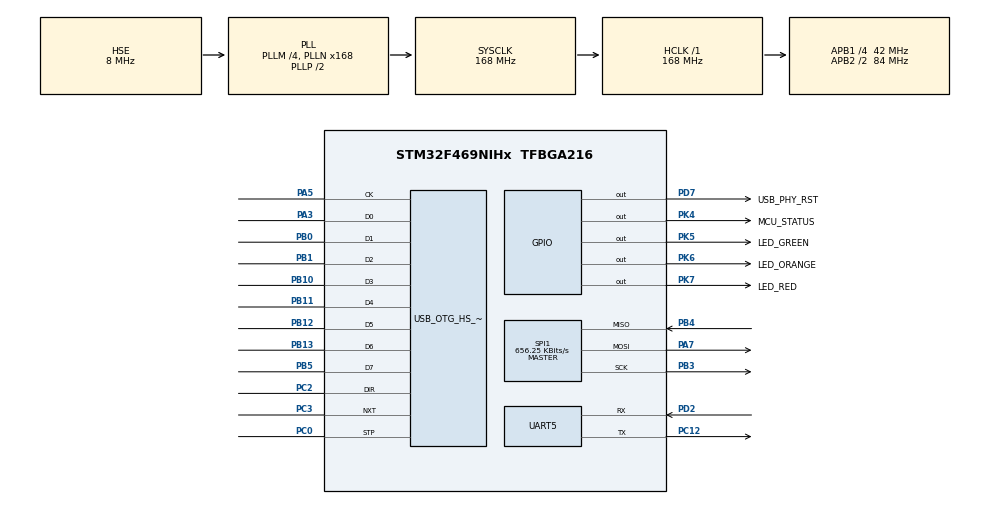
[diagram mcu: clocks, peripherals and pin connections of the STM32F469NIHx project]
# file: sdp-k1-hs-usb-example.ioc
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Dma.Request0=UART5_RX
Dma.Request1=UART5_TX
Dma.UART5_RX.0.Direction=DMA_PERIPH_TO_MEMORY
Dma.UART5_RX.0.FIFOMode=DMA_FIFOMODE_DISABLE
Dma.UART5_RX.0.Instance=DMA1_Stream0
Dma.UART5_RX.0.MemDataAlignment=DMA_MDATAALIGN_BYTE
Dma.UART5_RX.0.MemInc=DMA_MINC_ENABLE
Dma.UART5_RX.0.Mode=DMA_NORMAL
Dma.UART5_RX.0.PeriphDataAlignment=DMA_PDATAALIGN_BYTE
Dma.UART5_RX.0.PeriphInc=DMA_PINC_DISABLE
Dma.UART5_RX.0.Priority=DMA_PRIORITY_LOW
Dma.UART5_TX.1.Direction=DMA_MEMORY_TO_PERIPH
Dma.UART5_TX.1.FIFOMode=DMA_FIFOMODE_DISABLE
Dma.UART5_TX.1.Instance=DMA1_Stream7
Dma.UART5_TX.1.MemDataAlignment=DMA_MDATAALIGN_BYTE
Dma.UART5_TX.1.MemInc=DMA_MINC_ENABLE
Dma.UART5_TX.1.Mode=DMA_NORMAL
Dma.UART5_TX.1.PeriphDataAlignment=DMA_PDATAALIGN_BYTE
Dma.UART5_TX.1.PeriphInc=DMA_PINC_DISABLE
Dma.UART5_TX.1.Priority=DMA_PRIORITY_LOW
Mcu.Family=STM32F4
Mcu.Name=STM32F469NIHx
Mcu.Package=TFBGA216
NVIC.DMA1_Stream0_IRQn=true\:0\:0\:false\:false\:true\:false\:true
NVIC.DMA1_Stream7_IRQn=true\:0\:0\:false\:false\:true\:false\:true
NVIC.OTG_HS_EP1_IN_IRQn=true\:0\:0\:false\:false\:true\:true\:true
NVIC.OTG_HS_EP1_OUT_IRQn=true\:0\:0\:false\:false\:true\:true\:true
NVIC.OTG_HS_IRQn=true\:0\:0\:false\:false\:true\:false\:true
NVIC.PriorityGroup=NVIC_PRIORITYGROUP_4
NVIC.UART5_IRQn=true\:0\:0\:false\:false\:true\:true\:true
PA13.Mode=Serial_Wire
PA13.Signal=SYS_JTMS-SWDIO
PA14.Mode=Serial_Wire
PA14.Signal=SYS_JTCK-SWCLK
PA3.Mode=Device_HS
PA3.Signal=USB_OTG_HS_ULPI_D0
PA5.Mode=Device_HS
PA5.Signal=USB_OTG_HS_ULPI_CK
PA7.Mode=Full_Duplex_Master
PA7.Signal=SPI1_MOSI
PB0.Mode=Device_HS
PB0.Signal=USB_OTG_HS_ULPI_D1
PB1.Mode=Device_HS
PB1.Signal=USB_OTG_HS_ULPI_D2
PB10.Mode=Device_HS
PB10.Signal=USB_OTG_HS_ULPI_D3
PB11.Mode=Device_HS
PB11.Signal=USB_OTG_HS_ULPI_D4
PB12.Mode=Device_HS
PB12.Signal=USB_OTG_HS_ULPI_D5
PB13.Mode=Device_HS
PB13.Signal=USB_OTG_HS_ULPI_D6
PB3.Mode=Full_Duplex_Master
PB3.Signal=SPI1_SCK
PB4.Mode=Full_Duplex_Master
PB4.Signal=SPI1_MISO
PB5.Mode=Device_HS
PB5.Signal=USB_OTG_HS_ULPI_D7
PC0.Mode=Device_HS
PC0.Signal=USB_OTG_HS_ULPI_STP
PC12.Mode=Asynchronous
PC12.Signal=UART5_TX
PC2.Mode=Device_HS
PC2.Signal=USB_OTG_HS_ULPI_DIR
PC3.Mode=Device_HS
PC3.Signal=USB_OTG_HS_ULPI_NXT
PD2.Mode=Asynchronous
PD2.Signal=UART5_RX
PD7.GPIO_Label=USB_PHY_RST
PD7.PinState=GPIO_PIN_SET
PD7.Signal=GPIO_Output
PH0/OSC_IN.Mode=HSE-External-Oscillator
PH0/OSC_IN.Signal=RCC_OSC_IN
PH1/OSC_OUT.Mode=HSE-External-Oscillator
PH1/OSC_OUT.Signal=RCC_OSC_OUT
PK4.GPIO_Label=MCU_STATUS
PK4.Signal=GPIO_Output
PK5.GPIO_Label=LED_GREEN
PK5.Signal=GPIO_Output
PK6.GPIO_Label=LED_ORANGE
PK6.Signal=GPIO_Output
PK7.GPIO_Label=LED_RED
PK7.Signal=GPIO_Output
ProjectManager.HeapSize=0x800
ProjectManager.StackSize=0x800
ProjectManager.TargetToolchain=Makefile
RCC.AHBFreq_Value=168000000
RCC.APB1CLKDivider=RCC_HCLK_DIV4
RCC.APB1Freq_Value=42000000
RCC.APB1TimFreq_Value=84000000
RCC.APB2CLKDivider=RCC_HCLK_DIV2
RCC.APB2Freq_Value=84000000
RCC.APB2TimFreq_Value=168000000
RCC.CortexFreq_Value=168000000
RCC.HCLKFreq_Value=168000000
RCC.HSE_VALUE=8000000
RCC.PLLM=4
RCC.PLLN=168
RCC.PLLSourceVirtual=RCC_PLLSOURCE_HSE
RCC.SYSCLKFreq_VALUE=168000000
RCC.SYSCLKSource=RCC_SYSCLKSOURCE_PLLCLK
RCC.USBFreq_Value=84000000
RCC.VCOOutputFreq_Value=336000000
SPI1.BaudRatePrescaler=SPI_BAUDRATEPRESCALER_128
SPI1.CLKPhase=SPI_PHASE_1EDGE
SPI1.CLKPolarity=SPI_POLARITY_LOW
SPI1.CalculateBaudRate=656.25 KBits/s
SPI1.Direction=SPI_DIRECTION_2LINES
SPI1.Mode=SPI_MODE_MASTER
SPI1.VirtualType=VM_MASTER
UART5.VirtualMode=Asynchronous
USB_DEVICE.CLASS_NAME_HS=CDC
USB_DEVICE.USBD_DEBUG_LEVEL-CDC_HS=3
USB_DEVICE.USBD_LPM_ENABLED-CDC_HS=0
USB_DEVICE.USBD_SELF_POWERED-CDC_HS=0
USB_DEVICE.VirtualMode-CDC_HS=Cdc
USB_DEVICE.VirtualModeHS=Cdc_HS
USB_OTG_HS.VirtualMode-Device_HS=Device_HS
USB_OTG_HS.dma_enable-Device_HS=DISABLE
VP_USB_DEVICE_VS_USB_DEVICE_CDC_HS.Mode=CDC_HS
board=custom

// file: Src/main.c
/* USER CODE BEGIN Header */
/**
  ******************************************************************************
  * @file           : main.c
  * @brief          : Main program body
  ******************************************************************************
  * @attention
  *
  * <h2><center>&copy; Copyright (c) 2022 STMicroelectronics.
  * All rights reserved.</center></h2>
  *
  * This software component is licensed by ST under Ultimate Liberty license
  * SLA0044, the "License"; You may not use this file except in compliance with
  * the License. You may obtain a copy of the License at:
  *                             www.st.com/SLA0044
  *
  ******************************************************************************
  */
/* USER CODE END Header */

#include "main.h"
#include "dma.h"
#include "spi.h"
#include "usart.h"
#include "usb_device.h"
#include "gpio.h"

/* USER CODE BEGIN Includes */
#include "custom.h"
#include "usbd_cdc_if.h"
#include "stm32f4xx_ll_usb.h"
/* USER CODE END Includes */

/* USER CODE BEGIN PV */
extern UserRxBufferHS[];
uint8_t usb_out_buf[16];
/* USER CODE END PV */

void SystemClock_Config(void);
/* USER CODE BEGIN PFP */
void Blink_LEDs(void);

/* USER CODE END PFP */

int main(void)
{

  /* MCU Configuration--------------------------------------------------------*/

  /* Reset of all peripherals, Initializes the Flash interface and the Systick. */
  HAL_Init();

  /* Configure the system clock */
  SystemClock_Config();

  /* Initialize all configured peripherals */
  MX_GPIO_Init();
  MX_DMA_Init();

  MX_SPI1_Init();
  MX_UART5_Init();
  /* USER CODE BEGIN 2 */
  Blink_LEDs();
  /* Print Banner */

  Debug_Print("*****************************************\n");
  Debug_Print("--------   SPK-K1 USB Example   ---------\n");

  MX_USB_DEVICE_Init();
  /* USER CODE END 2 */
  /* USER CODE BEGIN WHILE */
  while (1)
  {
    /* USER CODE BEGIN 3 */
    HAL_Delay(1000);
    //usb_out_buf[0] = hcdc->RxLength;
    usb_out_buf[0] = UserRxBufferHS[0];
    Debug_Print("usb_out_buf[0] = %d\n", usb_out_buf[0]);

  }
  /* USER CODE END 3 */
}

void SystemClock_Config(void)
{
  RCC_OscInitTypeDef RCC_OscInitStruct = {0};
  RCC_ClkInitTypeDef RCC_ClkInitStruct = {0};

  /** Configure the main internal regulator output voltage
  */
  __HAL_RCC_PWR_CLK_ENABLE();
  __HAL_PWR_VOLTAGESCALING_CONFIG(PWR_REGULATOR_VOLTAGE_SCALE1);
  /** Initializes the CPU, AHB and APB busses clocks
  */
  RCC_OscInitStruct.OscillatorType = RCC_OSCILLATORTYPE_HSE;
  RCC_OscInitStruct.HSEState = RCC_HSE_ON;
  RCC_OscInitStruct.PLL.PLLState = RCC_PLL_ON;
  RCC_OscInitStruct.PLL.PLLSource = RCC_PLLSOURCE_HSE;
  RCC_OscInitStruct.PLL.PLLM = 4;
  RCC_OscInitStruct.PLL.PLLN = 168;
  RCC_OscInitStruct.PLL.PLLP = RCC_PLLP_DIV2;
  RCC_OscInitStruct.PLL.PLLQ = 4;
  RCC_OscInitStruct.PLL.PLLR = 2;
  if (HAL_RCC_OscConfig(&RCC_OscInitStruct) != HAL_OK)
  {
    Error_Handler();
  }

  /** Activate the Over-Drive mode
  */
  /* So 168MHz always be the proper MCU. 180Mhz need over drive.
  if (HAL_PWREx_EnableOverDrive() != HAL_OK)
  {
    Error_Handler();
  }
  */

  /** Initializes the CPU, AHB and APB busses clocks
  */
  RCC_ClkInitStruct.ClockType = RCC_CLOCKTYPE_HCLK|RCC_CLOCKTYPE_SYSCLK
                              |RCC_CLOCKTYPE_PCLK1|RCC_CLOCKTYPE_PCLK2;
  RCC_ClkInitStruct.SYSCLKSource = RCC_SYSCLKSOURCE_PLLCLK;
  RCC_ClkInitStruct.AHBCLKDivider = RCC_SYSCLK_DIV1;
  RCC_ClkInitStruct.APB1CLKDivider = RCC_HCLK_DIV4;
  RCC_ClkInitStruct.APB2CLKDivider = RCC_HCLK_DIV2;

  if (HAL_RCC_ClockConfig(&RCC_ClkInitStruct, FLASH_LATENCY_5) != HAL_OK)
  {
    Error_Handler();
  }
}

/* USER CODE BEGIN 4 */

void Blink_LEDs(void)
{
    for(int i=0; i<3; i++)
  {
    HAL_GPIO_WritePin(MCU_STATUS_GPIO_Port, MCU_STATUS_Pin, GPIO_PIN_SET);
    HAL_GPIO_WritePin(LED_GREEN_GPIO_Port, LED_GREEN_Pin, GPIO_PIN_SET);
    HAL_GPIO_WritePin(LED_ORANGE_GPIO_Port, LED_ORANGE_Pin, GPIO_PIN_SET);
    HAL_GPIO_WritePin(LED_RED_GPIO_Port, LED_RED_Pin, GPIO_PIN_SET);
    HAL_Delay(200);
    HAL_GPIO_WritePin(MCU_STATUS_GPIO_Port, MCU_STATUS_Pin, GPIO_PIN_RESET);
    HAL_GPIO_WritePin(LED_GREEN_GPIO_Port, LED_GREEN_Pin, GPIO_PIN_RESET);
    HAL_GPIO_WritePin(LED_ORANGE_GPIO_Port, LED_ORANGE_Pin, GPIO_PIN_RESET);
    HAL_GPIO_WritePin(LED_RED_GPIO_Port, LED_RED_Pin, GPIO_PIN_RESET);
    HAL_Delay(200);
  }
  HAL_GPIO_WritePin(MCU_STATUS_GPIO_Port, MCU_STATUS_Pin, GPIO_PIN_SET);

}
/* USER CODE END 4 */

void Error_Handler(void)
{
  /* USER CODE BEGIN Error_Handler_Debug */
  /* User can add his own implementation to report the HAL error return state */
  while(1);
  /* USER CODE END Error_Handler_Debug */
}

/************************ (C) COPYRIGHT STMicroelectronics *****END OF FILE****/
